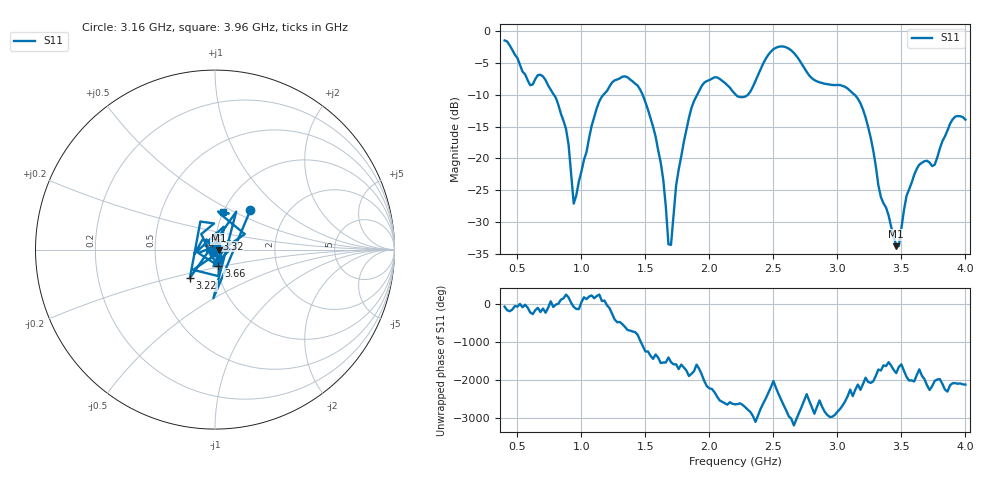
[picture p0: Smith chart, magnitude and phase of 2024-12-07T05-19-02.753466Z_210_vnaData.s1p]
!Created with skrf (http://scikit-rf.org).
# Hz S RI R 50.0
!freq ReS11 ImS11
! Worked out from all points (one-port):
!   181 points, 400 MHz to 4 GHz, reference 50 ohm
!   lowest |S11| = -33.8 dB at 3.46 GHz (marker M1), VSWR 1.04, Z = 52 - j0.417 ohm
!   |S11| at or under -10 dB: 785.2 MHz to 1.172 GHz (386.6 MHz wide, 39.5 % of centre); 1.479 GHz to 1.904 GHz (425.8 MHz wide, 25.2 % of centre); 3.135 GHz to end of sweep (the widest 3 of 4)
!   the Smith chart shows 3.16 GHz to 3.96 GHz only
!   S11 on the Smith chart (normalised r, x): 3.16 GHz: 1.32, +0.63; 3.22 GHz: 0.72, -0.24; 3.32 GHz: 1.01, +0.12; 3.66 GHz: 1.02, -0.19; 3.96 GHz: 1.00, +0.44
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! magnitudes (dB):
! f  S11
! 400 MHz  -1.4
! 600 MHz  -8.5
! 700 MHz  -7.1
! 860 MHz  -14.1
! 900 MHz  -17.9
! 940 MHz  -27.1
! 1.14 GHz  -11.0
! 1.3 GHz  -7.4
! 1.44 GHz  -8.6
! 1.56 GHz  -15.0
! 1.64 GHz  -23.5
! 1.68 GHz  -33.5
! 1.7 GHz  -33.6
! 1.76 GHz  -21.8
! 1.94 GHz  -8.6
! 2.2 GHz  -9.9
! 2.5 GHz  -2.8
! 2.66 GHz  -3.4
! 3.1 GHz  -9.4
! 3.16 GHz  -10.6
! 3.22 GHz  -13.6
! 3.32 GHz  -24.2
! 3.46 GHz  -33.8
! 3.56 GHz  -24.9
! 3.66 GHz  -20.7
! 3.76 GHz  -21.0
! 3.96 GHz  -13.4
! 4 GHz  -13.9
